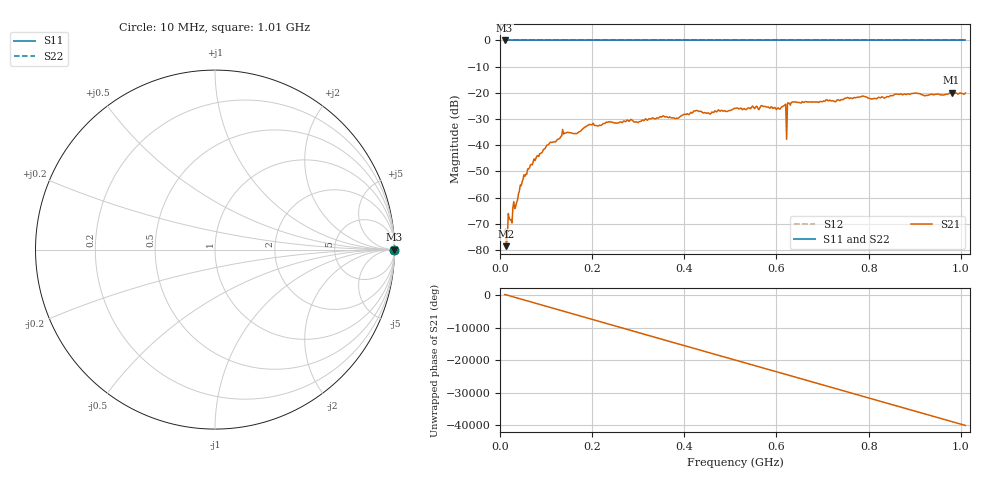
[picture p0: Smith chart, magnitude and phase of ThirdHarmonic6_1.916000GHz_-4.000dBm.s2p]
! 8/16/2025 11:06:21 PM
! C:\ANRITSUVNA\TEMP\TEMP.S2P
! CHANNEL.1
! TR.MEASUREMENT
! RAW.DATA
! RF.CORRECTION.OFF
! AVERAGING.OFF
! IF.BANDWIDTH: 5KHZ
! SWEEPTYPE:  FREQ.SWEEP(Linear)
! Reference Plane Port Info
! PORT:  PORT1  PORT2
! DISTANCE:  0  m  0  m
! TIME:  0  s  0  s
! PHASE.OFFSET:  0  deg.  0  deg.
! LOSS:  0  dB  0  dB
! REF.LOSS:  0  dB  0  dB
! REF.FREQ:  0  Hz  0  Hz
! Power Info
! POWER:  -20  dBm  -20  dBm
! EFF.POWER:  -20  dBm  -20  dBm
! SOURCE.ATTEN:  0  dB  0  dB
! TEST.ATTEN:  0  dB  0  dB
# GHZ S RI R 50.0
! FREQ.GHZ  S11RE  S11IM  S21RE  S21IM  S12RE  S12IM  S22RE  S22IM
!; PortSelection: Port_12
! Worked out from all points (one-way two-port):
!   501 points, 10 MHz to 1.01 GHz, reference 50 ohm
!   highest |S21| = -19.92 dB at 980 MHz (marker M1); lowest = -78.6 dB at 14 MHz (marker M2)
!   lowest |S11| = 0.0 dB at 10 MHz (marker M3)
!   |S11| at or under -10 dB: nowhere
!   |S22| runs from 0.0 to 0.0 dB; largest |S21 - S12| = 1.1
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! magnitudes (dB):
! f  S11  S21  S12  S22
! 10 MHz  0.0  -72.7  0.0  0.0
! 14 MHz  0.0  -78.6  0.0  0.0
! 36 MHz  0.0  -62.0  0.0  0.0
! 48 MHz  0.0  -54.1  0.0  0.0
! 78 MHz  0.0  -45.0  0.0  0.0
! 140 MHz  0.0  -35.4  0.0  0.0
! 178 MHz  0.0  -34.1  0.0  0.0
! 198 MHz  0.0  -32.2  0.0  0.0
! 344 MHz  0.0  -29.7  0.0  0.0
! 384 MHz  0.0  -29.7  0.0  0.0
! 424 MHz  0.0  -27.0  0.0  0.0
! 454 MHz  0.0  -28.0  0.0  0.0
! 510 MHz  0.0  -25.9  0.0  0.0
! 604 MHz  0.0  -25.7  0.0  0.0
! 616 MHz  0.0  -25.0  0.0  0.0
! 618 MHz  0.0  -24.7  0.0  0.0
! 626 MHz  0.0  -23.9  0.0  0.0
! 628 MHz  0.0  -24.0  0.0  0.0
! 678 MHz  0.0  -23.6  0.0  0.0
! 844 MHz  0.0  -21.5  0.0  0.0
! 980 MHz  0.0  -19.9  0.0  0.0
! 1.01 GHz  0.0  -20.1  0.0  0.0
